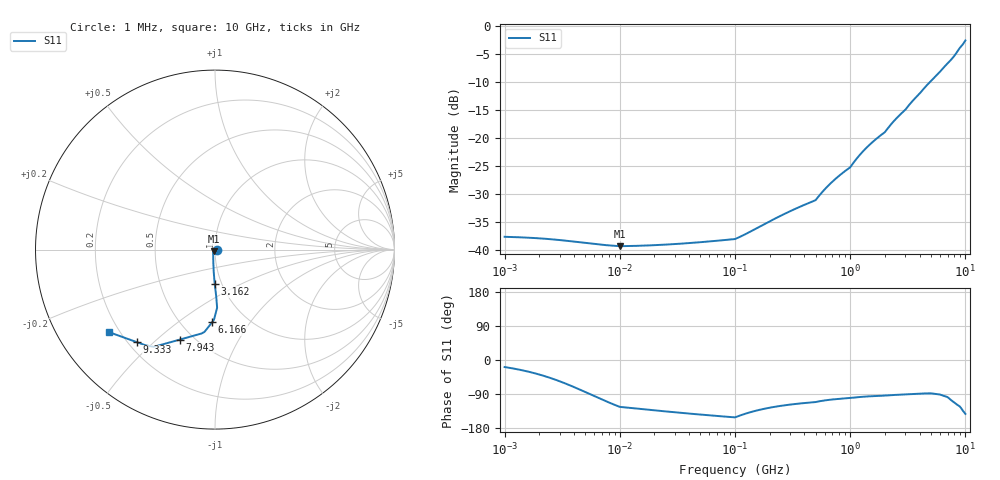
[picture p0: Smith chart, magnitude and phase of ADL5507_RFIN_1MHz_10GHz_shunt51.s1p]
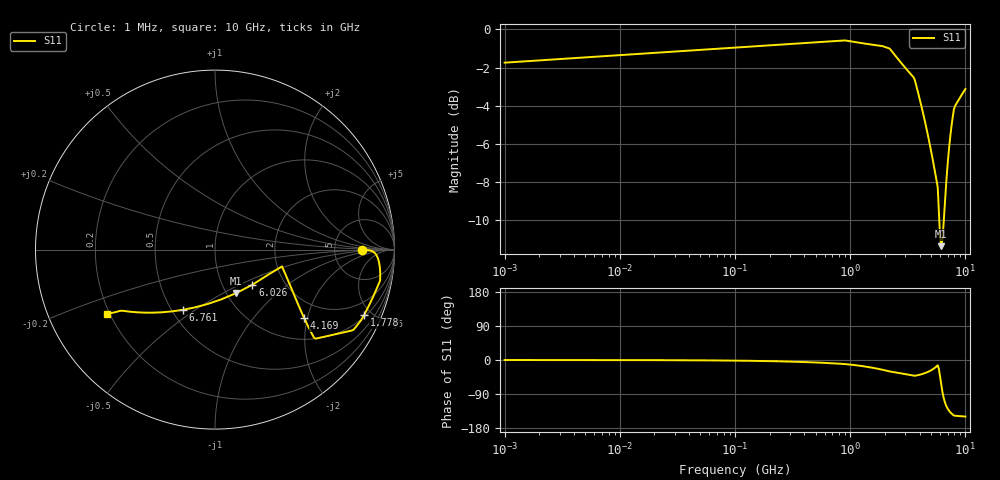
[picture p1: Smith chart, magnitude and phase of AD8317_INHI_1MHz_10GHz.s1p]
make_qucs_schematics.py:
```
"""Write Qucs 0.0.19 schematics (.sch) for the J1 -> AD8317 study.

The schematics hold the same circuits as the qucsator netlists of
`run_s11_study.py`; the values are taken from there, so the two cannot drift.
Pin positions (grid units, relative to the component origin):
  R, L, C, TLIN, horizontal: (-30,0) (+30,0); rotated by 1: (0,-30) (0,+30)
  Pac rotated by 1: pin 1 (0,-30), pin 2 (0,+30);  GND: pin at its origin
  SPfile 1 port:  1 (-30,0)  Ref (0,+30)
  SPfile 2 ports: 1 (-30,0)  2 (+30,0)  Ref (0,+30)
  SPfile 3 ports: 1 (-30,-30)  2 (+30,-30)  3 (-30,+30)  Ref (0,+60)
(found with `qucs -n` on a test schematic; see verify_qucs_schematics.py).

The S-parameter files are given with ABSOLUTE paths, because Qucs resolves a
relative name against its own project directory (~/.qucs). Run this script
again after you move the repository.

    python make_qucs_schematics.py
"""
import re
import sys
from pathlib import Path

HERE = Path(__file__).resolve().parent
sys.path.insert(0, str(HERE))
import run_s11_study as st  # noqa: E402  (netlist values, file names)

HEADER = """<Qucs Schematic 0.0.19>
<Properties>
  <View=0,0,{vw},{vh},1,0,0>
  <Grid=10,10,1>
  <DataSet={name}.dat>
  <DataDisplay={name}.dpl>
  <OpenDisplay=1>
  <Script={name}.m>
  <RunScript=0>
  <showFrame=0>
  <FrameText0=Title>
  <FrameText1=Drawn By:>
  <FrameText2=Date:>
  <FrameText3=Revision:>
</Properties>
<Symbol>
</Symbol>
"""


class Sch:
    def __init__(self, name):
        self.name, self.comp, self.wires = name, [], []
        self.n = {}

    def _id(self, kind):
        self.n[kind] = self.n.get(kind, 0) + 1
        return self.n[kind]

    def add(self, kind, name, x, y, tx, ty, rot, props, mirror=0):
        """props: list of (value, visible)."""
        p = " ".join('"%s" %d' % (v, vis) for v, vis in props)
        self.comp.append("  <%s %s 1 %d %d %d %d %d %d %s>" % (kind, name, x, y, tx, ty, mirror, rot, p))

    def wire(self, x1, y1, x2, y2):
        if (x1, y1) != (x2, y2):
            self.wires.append('  <%d %d %d %d "" 0 0 0 "">' % (x1, y1, x2, y2))

    def path(self, *pts):
        for a, b in zip(pts, pts[1:]):
            self.wire(a[0], a[1], b[0], b[1])

    def gnd(self, x, y):
        self.comp.append("  <GND * 1 %d %d 0 0 0 0>" % (x, y))

    # --- parts; each returns its pin coordinates
    def pac(self, x, y, num):
        self.add("Pac", "P%d" % num, x, y, 18, -26, 1,
                 [(str(num), 1), ("50 Ohm", 1), ("0 dBm", 0), ("1 GHz", 0)])
        return (x, y - 30), (x, y + 30)

    def res(self, name, x, y, value, rot=0):
        self.add("R", name, x, y, 15 if rot else -26, -26 if rot else 15, rot,
                 [(value, 1), ("26.85", 0), ("european", 0)])
        return ((x - 30, y), (x + 30, y)) if rot == 0 else ((x, y - 30), (x, y + 30))

    def ind(self, name, x, y, value, rot=0):
        self.add("L", name, x, y, 15 if rot else -26, -26 if rot else 15, rot, [(value, 1), ("", 0)])
        return ((x - 30, y), (x + 30, y)) if rot == 0 else ((x, y - 30), (x, y + 30))

    def cap(self, name, x, y, value, rot=0):
        self.add("C", name, x, y, 15 if rot else -26, -26 if rot else 15, rot, [(value, 1), ("", 0), ("neutral", 0)])
        return ((x - 30, y), (x + 30, y)) if rot == 0 else ((x, y - 30), (x, y + 30))

    def part2(self, kind, name, x, y, props):
        """Any two-pin line part (CLIN, CSTEP, MLIN, MSTEP): pins (-30,0) (+30,0).
        props: (key, value) in the order of the Qucs component; W, L, W1, W2 are shown."""
        shown = {"W", "L", "W1", "W2"}
        self.add(kind, name, x, y, -26, -88, 0, [(v, 1 if k in shown else 0) for k, v in props])
        return (x - 30, y), (x + 30, y)

    def subst(self, x, y, er, h):
        self.comp.append('  <SUBST Sub1 1 %d %d -30 24 0 0 "%s" 1 "%s" 1 "35 um" 1 "0.02" 1 "1.72e-8" 1 "0" 1>'
                         % (x, y, er, h))

    def tlin(self, name, x, y, z, length, alpha):
        self.add("TLIN", name, x, y, -26, -46, 0,
                 [(z, 1), (length, 0), (alpha, 0), ("26.85", 0)])
        return (x - 30, y), (x + 30, y)

    def spfile(self, name, x, y, fname, nports):
        self.add("SPfile", name, x, y, -26, -64 if nports == 3 else -44, 0,
                 [(fname, 0), ("rectangular", 0), ("linear", 0), ("open", 0), (str(nports), 0)])
        if nports == 3:
            return (x - 30, y - 30), (x + 30, y - 30), (x - 30, y + 30), (x, y + 60)
        if nports == 1:
            return (x - 30, y), (x, y + 30)
        return (x - 30, y), (x + 30, y), (x, y + 30)

    def sweep_and_plot(self, x, y):
        self.add(".SP", "SP1", x, y, 0, 51, 0,
                 [("log", 1), ("1 MHz", 1), ("10 GHz", 1), ("401", 1), ("no", 0), ("1", 0), ("2", 0)])
        self.add("Eqn", "Eqn1", x + 220, y, -23, 12, 0, [("S11_dB=dB(S[1,1])", 1), ("yes", 0)])

    def text(self):
        vw = 1500
        vh = 1150
        out = [HEADER.format(name=self.name, vw=vw, vh=vh), "<Components>"]
        out += self.comp
        out += ["</Components>", "<Wires>"] + self.wires + ["</Wires>", "<Diagrams>"]
        out += ['  <Rect 100 1080 520 320 3 #c0c0c0 1 10 1 1e+06 1 1e+10 1 -40 10 2 1 -1 1 1 315 0 225 "Frequency, Hz" "S11, dB" "">',
                '\t<"S11_dB" #ff0000 0 3 0 0 0>', "  </Rect>", "</Diagrams>", "<Paintings>"]
        out += ['  <Text 100 700 12 #000000 0 "%s\\nRun: Simulate (F2).">' % self.title.replace('"', "'"), "</Paintings>"]
        return "\n".join(out) + "\n"


def A_case(name, title, chip):
    s = Sch(name)
    s.title = title
    p1, gp = s.pac(60, 260, 1)
    s.gnd(*gp)
    em = s.spfile("EM", 300, 260, str(HERE / st.S3P), 3)
    s.path(p1, (270, 230))                    # port 1 -> EM pin 1
    s.path(em[3], (300, 340))
    s.gnd(300, 340)
    if chip:
        c = s.spfile("CHIP", 460, 230, str(HERE / st.S2P), 2)
        s.path(em[1], c[0])                   # EM pin 2 -> chip pin 1 (INHI)
        s.path(c[2], (460, 280))
        s.gnd(460, 280)
        s.path(c[1], (520, 230), (520, 400), (240, 400), (240, 290), em[2])  # chip pin 2 (INLO) -> EM pin 3
    else:
        a, _ = s.res("RP2", 380, 260, "50 Ohm", 1)
        s.path(em[1], (380, 230))
        s.gnd(380, 290)
        s.res("RP3", 230, 320, "50 Ohm", 1)
        s.path(em[2], (230, 290))
        s.gnd(230, 350)
    s.sweep_and_plot(60, 480)
    return s


def tlin_values(netlist):
    return {m.group(1): (m.group(2), m.group(3), m.group(4))
            for m in re.finditer(r'TLIN:(\w+) \S+ \S+ Z="([^"]+)" L="([^"]+)" Alpha="([^"]+)"', netlist)}


def B_case(name, title, load, z50=False, chip_file=None):
    net, _ = st.netlist_B(load, z50=z50, chip_file=chip_file)
    tl = tlin_values(net)
    s = Sch(name)
    s.title = title
    p1, gp = s.pac(60, 230, 1)
    s.gnd(*gp)
    y = 200
    prev = p1
    x = 130
    pins = {}
    for nm in ("PAD", "L1", "L2", "L3"):
        a, b = s.tlin(nm, x, y, *tl[nm])
        s.path(prev, a)
        pins[nm] = (a, b)
        prev = b
        x += 120
    # shunt resistors 2 x 100 ohm with 0.25 nH, at the right pin of L1 and of L2
    for nm, node in (("R1", pins["L1"][1]), ("R2", pins["L2"][1])):
        top, bot = s.res(nm, node[0], node[1] + 60, "100 Ohm", 1)
        s.path(node, top)
        l_top, l_bot = s.ind(nm + "L", node[0], node[1] + 120, "0.25 nH", 1)
        s.gnd(*l_bot)
    # C1: 47 nF + 0.25 nH + 0.035 ohm in series, then L4 to the chip
    a, b = s.cap("C1", x, y, "47 nF"); s.path(prev, a); prev = b; x += 120
    a, b = s.ind("C1L", x, y, "0.25 nH"); s.path(prev, a); prev = b; x += 120
    a, b = s.res("C1R", x, y, "0.035 Ohm"); s.path(prev, a); prev = b; x += 120
    a, b = s.tlin("L4", x, y, *tl["L4"]); s.path(prev, a); prev = b; x += 120
    if load == "chip":
        c = s.spfile("CHIP", x, y, str(HERE / (chip_file or st.S2P)), 2)
        s.path(prev, c[0])
        s.path(c[2], (x, y + 60))
        s.gnd(x, y + 60)
        prev = c[1]
        x += 120
    else:                                     # 50 ohm from each pad to ground, nets not joined
        r_top, r_bot = s.res("RP2", prev[0], prev[1] + 60, "50 Ohm", 1)
        s.path(prev, r_top)
        s.gnd(*r_bot)
        prev = (x - 30, y)                    # INLO net = left pin of L5, 30 units from the INHI net
        r_top, r_bot = s.res("RP3", prev[0], prev[1] + 60, "50 Ohm", 1)
        s.path(prev, r_top)
        s.gnd(*r_bot)
    a, b = s.tlin("L5", x, y, *tl["L5"]); s.path(prev, a); prev = b; x += 120
    a, b = s.cap("C2", x, y, "47 nF"); s.path(prev, a); prev = b; x += 120
    a, b = s.ind("C2L", x, y, "0.25 nH"); s.path(prev, a); prev = b; x += 120
    a, b = s.res("C2R", x, y, "0.035 Ohm"); s.path(prev, a); prev = b
    s.gnd(*b)
    s.sweep_and_plot(60, 480)
    return s


def _chain_case(name, title, el, taps, plane):
    """Draw a chain from run_s11_study.chain_C / run_adl5507_study.chain_E.

    el: the series elements (the chip SPfile has no `b` for a 1-port); taps: (name, node, ohm),
    a shunt resistor with 0.25 nH to ground on that node.
    """
    sb = st.SUBSTRATES[plane]
    s = Sch(name)
    s.title = title
    p1, gp = s.pac(60, 230, 1)
    s.gnd(*gp)
    y, x, prev = 200, 130, p1
    pins = {}
    for e in el:
        one_port = e["kind"] == "SPfile" and not e.get("b")
        if e["kind"] in ("R", "L", "C"):
            a, b = {"R": s.res, "L": s.ind, "C": s.cap}[e["kind"]](e["name"], x, y, e["props"][0][1])
        elif e["kind"] == "SPfile":
            c = s.spfile("CHIP", x, y, str(HERE / e["props"][0][1]), 1 if one_port else 2)
            a, b = c[0], (c[0] if one_port else c[1])
            ref = c[1] if one_port else c[2]
            s.path(ref, (ref[0], ref[1] + 30))
            s.gnd(ref[0], ref[1] + 30)
        else:
            a, b = s.part2(e["kind"], e["name"], x, y, e["props"])
        s.path(prev, a)
        pins[e["b"] if e.get("b") else e["a"]] = b
        prev = b
        x += 120
    if not (el[-1]["kind"] == "SPfile" and not el[-1].get("b")):
        s.gnd(*prev)
    for nm, node, ohm in taps:
        n = pins[node]
        top, bot = s.res(nm, n[0], n[1] + 60, "%g Ohm" % ohm, 1)
        s.path(n, top)
        _, l_bot = s.ind(nm + "L", n[0], n[1] + 120, "0.25 nH", 1)
        s.gnd(*l_bot)
    s.subst(900, 500, sb["er"], sb["h"])
    s.sweep_and_plot(60, 480)
    return s


def C_case(name, title, line, plane, chip_file=None, geom=None):
    """Substrate-defined lines (SUBST + CLIN/CSTEP or MLIN/MSTEP), see run_s11_study.chain_C."""
    _, el, taps = st.chain_C(line, plane, chip_file, geom)
    r_shunt = st.merged_geom(geom)["r_shunt"]
    return _chain_case(name, title, el, [(nm, node, r_shunt) for nm, node in taps], plane)


def E_case(name, title, line, plane, mode):
    """ADL5507 on the same lines, see run_adl5507_study.chain_E."""
    import run_adl5507_study as ea
    _, el, taps = ea.chain_E(line, plane, mode)
    return _chain_case(name, title, el, taps, plane)


def E0_case(name, title, chip_file, shunt_ohm=None):
    """A detector input alone at a 50 ohm port (1-port file, optional shunt resistor)."""
    s = Sch(name)
    s.title = title
    p1, gp = s.pac(60, 230, 1)
    s.gnd(*gp)
    c = s.spfile("CHIP", 200, 200, str(HERE / chip_file), 1)
    s.path(p1, (140, 200), c[0])             # the wire is split where the shunt resistor taps it
    s.path(c[1], (200, 260))
    s.gnd(200, 260)
    if shunt_ohm:
        top, bot = s.res("RT", 140, 260, "%g Ohm" % shunt_ohm, 1)
        s.path((140, 200), top)
        s.gnd(*bot)
    s.sweep_and_plot(60, 480)
    return s


CASES = {
    "case_A0_rfsim_50ohm": lambda n: A_case(n, "A0: rfsim 3-port (EM), ports 2 and 3 terminated 50 ohm", False),
    "case_A1_rfsim_ad8317": lambda n: A_case(n, "A1: rfsim 3-port (EM) + AD8317 input between INHI and INLO", True),
    "case_B_circuit_ad8317": lambda n: B_case(n, "B: circuit model of J1 to U1 + AD8317 input (datasheet table)", "chip"),
    "case_B_chart_circuit_ad8317": lambda n: B_case(
        n, "B_chart: as B, AD8317 input from the Figure 15 chart at >= 5.8 GHz", "chip", chip_file=st.S2P_CHART),
    "case_B0_circuit_50ohm": lambda n: B_case(n, "B0: circuit model, 50 ohm on INHI and on INLO", "50"),
    "case_C1_cpw_bcu_ad8317": lambda n: C_case(n, "C1: coplanar lines (CLIN) on SUBST, ground plane B.Cu 1.44 mm (as built) + AD8317", "cpw", "bcu"),
    "case_C1c_cpw_bcu_chart_ad8317": lambda n: C_case(n, "C1c: as C1, AD8317 chart points >= 5.8 GHz", "cpw", "bcu", st.S2P_CHART),
    "case_C2_cpw_in1_ad8317": lambda n: C_case(n, "C2: coplanar lines, ground plane In1 0.1 mm (what if In1 were solid) + AD8317", "cpw", "in1"),
    "case_C3_ms_in1_ad8317": lambda n: C_case(n, "C3: microstrip (MLIN) over In1 0.1 mm (what if) + AD8317", "ms", "in1"),
    "case_C4_ms_bcu_ad8317": lambda n: C_case(n, "C4: microstrip (MLIN) over B.Cu 1.44 mm + AD8317", "ms", "bcu"),
    "case_B2_circuit_z50_ad8317": lambda n: B_case(n, "B2: circuit model with 50 ohm traces + AD8317", "chip", z50=True),
}

# ADL5507 cases (run_adl5507_study.py): the chips alone, and the board on the four stackups
_ADL = "ADL5507_RFIN_1MHz_10GHz_raw.s1p", "ADL5507_RFIN_1MHz_10GHz_shunt51.s1p"
CASES.update({
    "case_E_A0r_ad8317_bare": lambda n: E0_case(n, "A0r: AD8317 INHI to ground, bare", "AD8317_INHI_1MHz_10GHz.s1p"),
    "case_E_A0t_ad8317_52R": lambda n: E0_case(n, "A0t: AD8317 INHI with the 52.3 ohm of the datasheet test circuit",
                                               "AD8317_INHI_1MHz_10GHz.s1p", 52.3),
    "case_E0r_adl5507_bare": lambda n: E0_case(n, "E0r: ADL5507 bare RFIN (datasheet Table 5)", _ADL[0]),
    "case_E0s_adl5507_table4": lambda n: E0_case(n, "E0s: ADL5507 with 51 ohm (datasheet Table 4)", _ADL[1]),
    "case_E0i_adl5507_51R": lambda n: E0_case(n, "E0i: ADL5507 bare RFIN with an ideal 51 ohm", _ADL[0], 51.0),
})
for _line, _plane in (("cpw", "bcu"), ("ms", "bcu"), ("cpw", "in1"), ("ms", "in1")):
    _tag = "%s_%s" % (_line, _plane)
    for _key, _mode, _what in (("E1", "dropin", "ADL5507 drop-in (R1, R2, C1 as on the AD8317 board)"),
                               ("E2", "adi", "ADL5507 with one 51 ohm at the pin (ADI reference)"),
                               ("E3", "table", "ADL5507 as datasheet Table 4 (51 ohm included)")):
        CASES["case_%s_%s_adl5507_%s" % (_key, _tag, _mode)] = (
            lambda n, l=_line, p=_plane, m=_mode, w=_what: E_case(n, "E: %s on %s, %s" % (w, l, p), l, p, m))
    CASES["case_E_C_%s_ad8317" % _tag] = (
        lambda n, l=_line, p=_plane: C_case(n, "C: AD8317 on %s, %s (as in run_s11_study)" % (l, p), l, p))


def main():
    for name, make in CASES.items():
        sch = make(name)
        (HERE / (name + ".sch")).write_text(sch.text(), encoding="ascii", newline="\n")
        print("written", name + ".sch")


if __name__ == "__main__":
    main()
```
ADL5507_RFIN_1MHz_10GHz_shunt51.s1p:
! ADL5507 RFIN input reflection, variant 'shunt51', 1 MHz - 10 GHz (see adl5507_input_model.py)
! Data: ADL5507 Rev. 0 datasheet, Table 4, 10 MHz - 15 GHz; below 10 MHz extrapolated (series 25 pF coupling capacitor).
! 1-port: RFIN to ground (COMM). Reference impedance 50 ohm.
# HZ S RI R 50
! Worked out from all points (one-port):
!   401 points, 1 MHz to 10 GHz, reference 50 ohm
!   lowest |S11| = -39.3 dB at 10 MHz (marker M1), VSWR 1.02, Z = 49.4 - j0.889 ohm
!   |S11| at or under -10 dB: start of sweep to 4.895 GHz
!   S11 on the Smith chart (normalised r, x): 1 MHz: 1.03, -0.01; 3.162 GHz: 0.93, -0.37; 6.166 GHz: 0.70, -0.68; 7.943 GHz: 0.42, -0.60; 9.333 GHz: 0.23, -0.44; 10 GHz: 0.16, -0.33
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1000000  0.0124 -0.00418
1e7  -0.006 -0.009
2.187762e7  -0.0077 -0.00798
1e8  -0.011 -0.006
4.677351e8  -0.01 -0.0252
1.905461e9  -0.00814 -0.1089
3.162278e9  -0.00135 -0.192
4.897788e9  0.0114 -0.3162
6.16595e9  -0.0161 -0.4047
7.079458e9  -0.0749 -0.4674
7.943282e9  -0.1965 -0.5019
8.709636e9  -0.3122 -0.5336
9.332543e9  -0.4363 -0.5154
1e10  -0.593 -0.459
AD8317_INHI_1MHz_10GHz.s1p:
! AD8317 input impedance model, 1 MHz - 10 GHz (datasheet Rev.D R||C table, see ad8317_input_model.py)
! Reference impedance 50 ohm. INLO is ac-coupled RF common.
! 1-port: INHI to ground (INLO ac-grounded).
# HZ S RI R 50
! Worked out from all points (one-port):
!   401 points, 1 MHz to 10 GHz, reference 50 ohm
!   lowest |S11| = -11.4 dB at 6.166 GHz (marker M1), VSWR 1.74, Z = 55.5 - j29 ohm
!   |S11| at or under -10 dB: 5.935 GHz to 6.499 GHz (564.5 MHz wide, 9.08 % of centre)
!   S11 on the Smith chart (normalised r, x): 1 MHz: 10.00, -0.02; 1.778 GHz: 1.09, -4.50; 4.169 GHz: 1.53, -1.91; 6.026 GHz: 1.38, -0.59; 6.761 GHz: 0.57, -0.45; 10 GHz: 0.19, -0.27
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1000000  0.8182 -0.000363
2.187762e7  0.8696 -0.00639
4.677351e8  0.9184 -0.0991
9.332543e8  0.9167 -0.1806
1.778279e9  0.8301 -0.3654
2.238721e9  0.7617 -0.4511
3.467369e9  0.5707 -0.4941
4.168694e9  0.4965 -0.3808
5.495409e9  0.3928 -0.1381
6.025596e9  0.2087 -0.1955
6.16595e9  0.1187 -0.2421
6.76083e9  -0.1801 -0.3357
7.943282e9  -0.5132 -0.341
1e10  -0.5997 -0.3566
